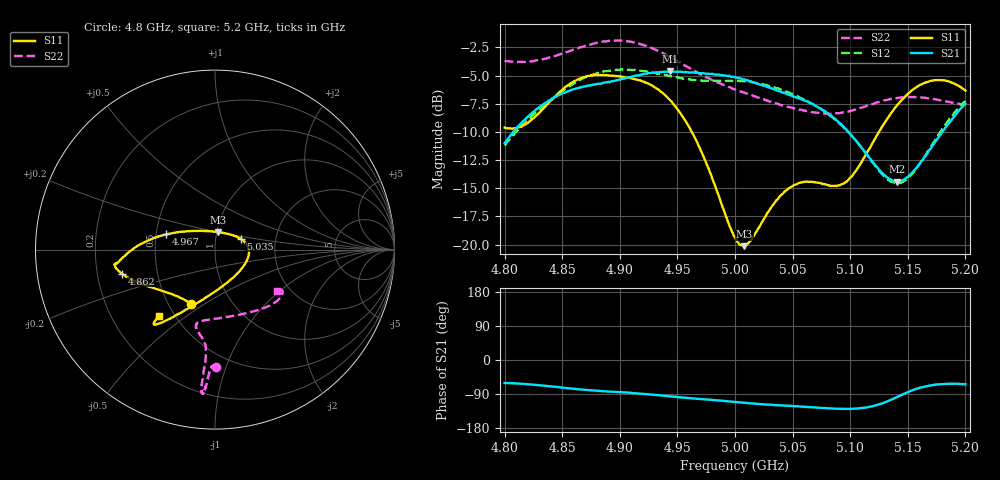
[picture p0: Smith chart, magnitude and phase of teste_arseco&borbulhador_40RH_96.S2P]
! Network Analyzer HP8722D
! Hewlett-Packard
! Data name: Linha & Wilkinson
! Saver's name: Rodrigo Anjos
! Comments: Teste da utilização de aquisição
! continua pelo VNA HP8722D
! Time and date: 15/4/2025 17:09
!  Frequency  S11  S21  S12  S22
# HZ  S  MA R 50
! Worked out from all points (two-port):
!   401 points, 4.8 GHz to 5.2 GHz, reference 50 ohm
!   highest |S21| = -4.63 dB at 4.944 GHz (marker M1); lowest = -14.4 dB at 5.141 GHz (marker M2)
!   |S21| within 3 dB of the highest: 4.832 GHz to 5.069 GHz (236.5 MHz wide, 4.78 % of centre); 5.198634 GHz to end of sweep
!   lowest |S11| = -20.1 dB at 5.008 GHz (marker M3), VSWR 1.22, Z = 50.7 + j9.93 ohm
!   |S11| at or under -10 dB: 4.962 GHz to 5.125 GHz (162.7 MHz wide, 3.22 % of centre)
!   |S22| runs from -8.4 to -1.9 dB; largest |S21 - S12| = 0.88
!   S11 on the Smith chart (normalised r, x): 4.8 GHz: 0.65, -0.44; 4.862 GHz: 0.31, -0.12; 4.967 GHz: 0.57, +0.10; 5.035 GHz: 1.32, +0.16; 5.2 GHz: 0.41, -0.40
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4.8e9  0.3308 -113.6  0.2818 -60.7  0.2748 -175.0  0.6548 -89.5
4.819e9  0.3441 -133.4  0.3645 -63.8  0.3526 -173.3  0.649 -91.1
4.84e9  0.4347 -152.7  0.4398 -69.5  0.439 -173.6  0.6772 -92.4
4.862e9  0.5355 -165.5  0.4926 -76.5  0.526 -176.3  0.7396 -93.5
4.867e9  0.5498 -167.5  0.4997 -78.2  0.5424 -177.4  0.7532 -93.7
4.9e9  0.5574 -172.1  0.5407 -84.8  0.5976 176.1  0.8047 -95.1
4.934e9  0.4855 -177.8  0.5817 -93.3  0.5728 172.0  0.7199 -95.6
4.944e9  0.4359 177.6  0.587 -96.0  0.5577 172.1  0.6788 -95.3
4.967e9  0.285 162.7  0.5789 -102.2  0.5353 174.0  0.5811 -94.8
5e9  0.1076 107.3  0.5526 -111.0  0.5338 176.5  0.4879 -99.3
5.008e9  0.09834 80.3  0.5409 -112.9  0.5304 176.4  0.4724 -101.1
5.035e9  0.1546 23.1  0.4862 -119.0  0.497 175.2  0.424 -103.7
5.05e9  0.1818 7.2  0.4569 -121.4  0.4641 174.6  0.4037 -100.4
5.067e9  0.1898 -11.2  0.4211 -124.7  0.422 174.0  0.387 -92.0
5.087e9  0.1824 -43.5  0.3613 -128.6  0.3579 173.8  0.3823 -76.9
5.097e9  0.1902 -64.8  0.3218 -129.1  0.3205 174.6  0.3886 -68.6
5.134e9  0.3727 -116.0  0.1956 -106.9  0.1921 -159.8  0.4415 -43.3
5.141e9  0.4159 -119.8  0.1902 -97.0  0.1873 -148.8  0.4474 -40.2
5.153e9  0.4813 -124.8  0.2065 -81.0  0.2038 -130.1  0.4517 -35.9
5.17e9  0.5326 -128.4  0.2672 -66.9  0.2724 -113.1  0.4442 -32.1
5.185e9  0.5309 -129.9  0.342 -63.0  0.3539 -106.9  0.4303 -31.1
5.2e9  0.4828 -130.2  0.4224 -63.9  0.4339 -105.9  0.4154 -33.3
